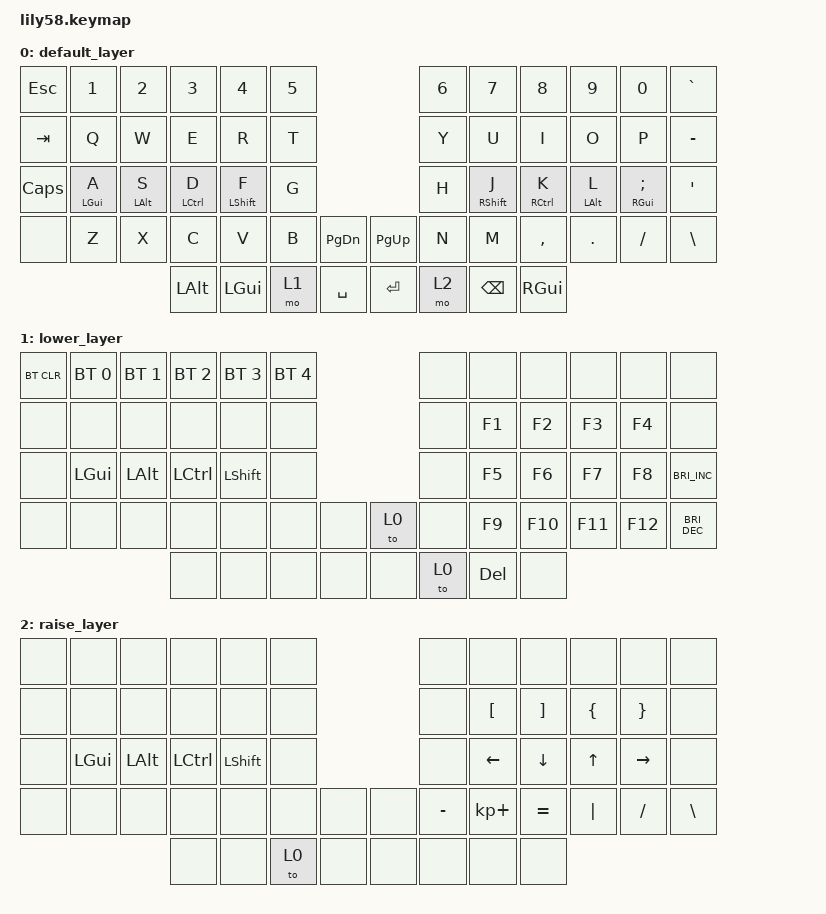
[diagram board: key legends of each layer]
/*
 * Copyright (c) 2020 The ZMK Contributors
 *
 * SPDX-License-Identifier: MIT
 */

#include <behaviors.dtsi>
#include <dt-bindings/zmk/bt.h>
#include <dt-bindings/zmk/keys.h>

/ {
    behaviors {
        hm: homerow_mods {
            compatible = "zmk,behavior-hold-tap";
            label = "HOMEROW_MODS";
            #binding-cells = <2>;
            tapping-term-ms = <200>;
            quick-tap-ms = <(-1)>;
            flavor = "tap-preferred";
            bindings = <&kp>, <&kp>;
        };
    };

    keymap {
        compatible = "zmk,keymap";

        default_layer {
            bindings = <
&kp ESC   &kp N1      &kp N2      &kp N3       &kp N4       &kp N5                                &kp N6  &kp N7       &kp N8       &kp N9      &kp N0         &kp GRAVE
&kp TAB   &kp Q       &kp W       &kp E        &kp R        &kp T                                 &kp Y   &kp U        &kp I        &kp O       &kp P          &kp MINUS
&kp CAPS  &hm LGUI A  &hm LALT S  &hm LCTRL D  &hm LSHFT F  &kp G                                 &kp H   &hm RSHFT J  &hm RCTRL K  &hm LALT L  &hm RGUI SEMI  &kp SQT
&none     &kp Z       &kp X       &kp C        &kp V        &kp B   &kp PAGE_DOWN    &kp PAGE_UP  &kp N   &kp M        &kp COMMA    &kp DOT     &kp FSLH       &kp BACKSLASH
                                  &kp LALT     &kp LGUI     &mo 1   &kp SPACE        &kp RET      &mo 2   &kp BSPC     &kp RGUI
            >;
        };

        lower_layer {
            bindings = <
&bt BT_CLR  &bt BT_SEL 0  &bt BT_SEL 1  &bt BT_SEL 2  &bt BT_SEL 3  &bt BT_SEL 4                  &none  &none    &none    &none    &none    &none
&none       &none         &none         &none         &none         &none                         &none  &kp F1   &kp F2   &kp F3   &kp F4   &none
&none       &kp LGUI      &kp LALT      &kp LCTRL     &kp LSHFT     &none                         &none  &kp F5   &kp F6   &kp F7   &kp F8   &kp C_BRIGHTNESS_INC
&none       &none         &none         &none         &none         &none         &none    &to 0  &none  &kp F9   &kp F10  &kp F11  &kp F12  &kp C_BRIGHTNESS_DEC
                                        &none         &none         &none         &none    &none  &to 0  &kp DEL  &none
            >;
        };

        raise_layer {
            bindings = <
&none  &none         &none     &none      &none      &none                  &none      &none             &none      &none     &none      &none
&none  &none         &none     &none      &none      &none                  &none      &kp LEFT_BRACKET  &kp RBKT   &kp LBRC  &kp RBRC   &none
&none  &kp LEFT_GUI  &kp LALT  &kp LCTRL  &kp LSHFT  &none                  &none      &kp LEFT          &kp DOWN   &kp UP    &kp RIGHT  &none
&none  &none         &none     &none      &none      &none  &none    &none  &kp MINUS  &kp KP_PLUS       &kp EQUAL  &kp PIPE  &kp SLASH  &kp BSLH
                               &none      &none      &to 0  &none    &none  &none      &none             &none
            >;
        };
    };
};
